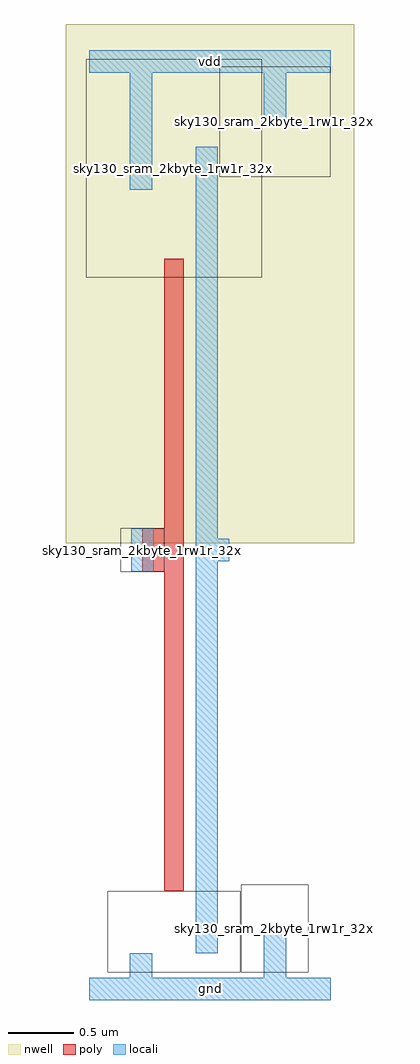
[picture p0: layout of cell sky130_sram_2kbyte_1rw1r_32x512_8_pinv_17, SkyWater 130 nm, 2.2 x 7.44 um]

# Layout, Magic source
magic
tech sky130A
magscale 1 2
<< nwell >>
rect -36 679 404 1471
<< poly >>
rect 114 702 144 1113
rect 81 636 144 702
rect 114 149 144 636
<< locali >>
rect 0 1397 368 1431
rect 62 1218 96 1397
rect 266 1322 300 1397
rect 64 636 98 702
rect 162 686 196 1284
rect 162 652 213 686
rect 162 54 196 652
rect 62 17 96 54
rect 266 17 300 92
rect 0 -17 368 17
use sky130_sram_2kbyte_1rw1r_32x512_8_pmos_m1_w1_120_sli_dli_da_p  sky130_sram_2kbyte_1rw1r_32x512_8_pmos_m1_w1_120_sli_dli_da_p_0
transform 1 0 54 0 1 1139
box -59 -54 209 278
use sky130_sram_2kbyte_1rw1r_32x512_8_contact_16  sky130_sram_2kbyte_1rw1r_32x512_8_contact_16_0
transform 1 0 48 0 1 636
box 0 0 66 66
use sky130_sram_2kbyte_1rw1r_32x512_8_contact_29  sky130_sram_2kbyte_1rw1r_32x512_8_contact_29_0
transform 1 0 258 0 1 51
box -26 -26 76 108
use sky130_sram_2kbyte_1rw1r_32x512_8_contact_28  sky130_sram_2kbyte_1rw1r_32x512_8_contact_28_0
transform 1 0 258 0 1 1281
box -59 -43 109 125
use sky130_sram_2kbyte_1rw1r_32x512_8_nmos_m1_w0_360_sli_dli_da_p  sky130_sram_2kbyte_1rw1r_32x512_8_nmos_m1_w0_360_sli_dli_da_p_0
transform 1 0 54 0 1 51
box -26 -26 176 98
<< labels >>
rlabel locali s 81 669 81 669 4 A
rlabel locali s 196 669 196 669 4 Z
rlabel locali s 184 0 184 0 4 gnd
rlabel locali s 184 1414 184 1414 4 vdd
<< properties >>
string FIXED_BBOX 0 0 368 1414
<< end >>
